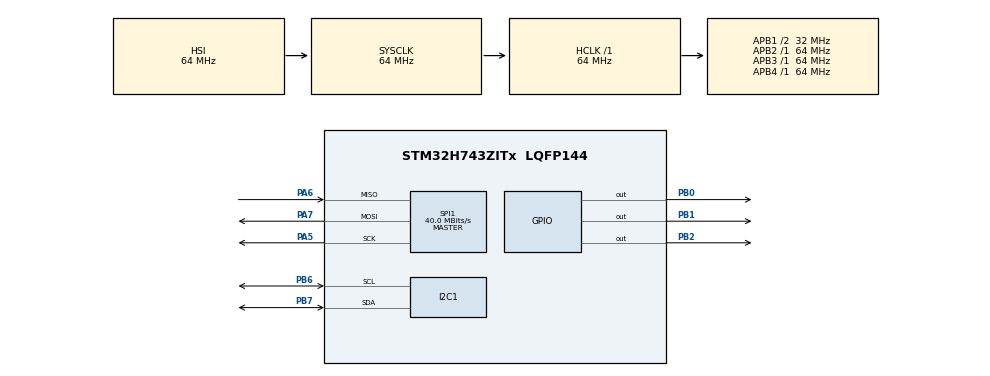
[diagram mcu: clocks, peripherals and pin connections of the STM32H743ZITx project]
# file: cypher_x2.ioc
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CORTEX_M7.default_mode_Activation=1
FREERTOS.Tasks01=TouchTask,0,512,StartTouchTask,Default,NULL,Dynamic,NULL,NULL;TFTTask,-3,512,StartTFTTask,Default,NULL,Dynamic,NULL,NULL
I2C1.Timing=0x00707CBB
Mcu.Family=STM32H7
Mcu.Name=STM32H743ZITx
Mcu.Package=LQFP144
NVIC.PriorityGroup=NVIC_PRIORITYGROUP_4
PA5.Mode=Full_Duplex_Master
PA5.Signal=SPI1_SCK
PA6.Mode=Full_Duplex_Master
PA6.Signal=SPI1_MISO
PA7.Mode=Full_Duplex_Master
PA7.Signal=SPI1_MOSI
PB0.Signal=GPIO_Output
PB1.Signal=GPIO_Output
PB2.Signal=GPIO_Output
PB6.Mode=I2C
PB6.Signal=I2C1_SCL
PB7.Mode=I2C
PB7.Signal=I2C1_SDA
ProjectManager.HeapSize=0x200
ProjectManager.StackSize=0x400
ProjectManager.TargetToolchain=STM32CubeIDE
RCC.ADCFreq_Value=129000000
RCC.APB1Freq_Value=32000000
RCC.APB2Freq_Value=64000000
RCC.APB3Freq_Value=64000000
RCC.APB4Freq_Value=64000000
RCC.CortexFreq_Value=64000000
RCC.D2PPRE1=RCC_APB1_DIV2
RCC.DIVM1=4
RCC.DIVN1=10
RCC.HCLKFreq_Value=64000000
RCC.PLLFRACN=0
RCC.SYSCLKFreq_VALUE=64000000
RCC.USBFreq_Value=80000000
SPI1.CalculateBaudRate=40.0 MBits/s
SPI1.Direction=SPI_DIRECTION_2LINES
SPI1.Mode=SPI_MODE_MASTER
SPI1.VirtualType=VM_MASTER
VP_FREERTOS_VS_CMSIS_V1.Mode=CMSIS_V1
VP_MEMORYMAP_VS_MEMORYMAP.Mode=CurAppReg
board=custom

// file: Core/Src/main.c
/* USER CODE BEGIN Header */
/**
  ******************************************************************************
  * @file           : main.c
  * @brief          : Main program body
  ******************************************************************************
  * @attention
  *
  * Copyright (c) 2024 STMicroelectronics.
  * All rights reserved.
  *
  * This software is licensed under terms that can be found in the LICENSE file
  * in the root directory of this software component.
  * If no LICENSE file comes with this software, it is provided AS-IS.
  *
  ******************************************************************************
  */
/* USER CODE END Header */
#include "main.h"
#include "cmsis_os.h"
#include "stmpe811.h"
#include "ili9341.h"

I2C_HandleTypeDef hi2c1;
stmpe811 stmpe811_struct;
ili9341 ili9341_struct;
SPI_HandleTypeDef hspi1;

uint8_t touch_flag = 0;

osThreadId TouchTaskHandle;
osThreadId TFTTaskHandle;

void SystemClock_Config(void);
static void MPU_Config(void);
static void MX_GPIO_Init(void);
static void MX_I2C1_Init(void);
static void MX_SPI1_Init(void);
void StartTouchTask(void const * argument);
void StartTFTTask(void const * argument);

int main(void)
{

  /* MPU Configuration--------------------------------------------------------*/
  MPU_Config();

  /* MCU Configuration--------------------------------------------------------*/

  /* Reset of all peripherals, Initializes the Flash interface and the Systick. */
  HAL_Init();

  /* Configure the system clock */
  SystemClock_Config();

  /* Initialize all configured peripherals */
  MX_GPIO_Init();
  MX_I2C1_Init();
  MX_SPI1_Init();

  /* Create the thread(s) */
  /* definition and creation of TouchTask */
  osThreadDef(TouchTask, StartTouchTask, osPriorityNormal, 0, 512);
  TouchTaskHandle = osThreadCreate(osThread(TouchTask), NULL);

  /* definition and creation of TFTTask */
  osThreadDef(TFTTask, StartTFTTask, osPriorityIdle, 0, 512);
  TFTTaskHandle = osThreadCreate(osThread(TFTTask), NULL);

  /* Start scheduler */
  osKernelStart();

  /* We should never get here as control is now taken by the scheduler */

  /* Infinite loop */
  while (1)
  {

  }
}

void SystemClock_Config(void)
{
  RCC_OscInitTypeDef RCC_OscInitStruct = {0};
  RCC_ClkInitTypeDef RCC_ClkInitStruct = {0};

  /** Supply configuration update enable
  */
  HAL_PWREx_ConfigSupply(PWR_LDO_SUPPLY);

  /** Configure the main internal regulator output voltage
  */
  __HAL_PWR_VOLTAGESCALING_CONFIG(PWR_REGULATOR_VOLTAGE_SCALE3);

  while(!__HAL_PWR_GET_FLAG(PWR_FLAG_VOSRDY)) {}

  /** Initializes the RCC Oscillators according to the specified parameters
  * in the RCC_OscInitTypeDef structure.
  */
  RCC_OscInitStruct.OscillatorType = RCC_OSCILLATORTYPE_HSI;
  RCC_OscInitStruct.HSIState = RCC_HSI_DIV1;
  RCC_OscInitStruct.HSICalibrationValue = RCC_HSICALIBRATION_DEFAULT;
  RCC_OscInitStruct.PLL.PLLState = RCC_PLL_ON;
  RCC_OscInitStruct.PLL.PLLSource = RCC_PLLSOURCE_HSI;
  RCC_OscInitStruct.PLL.PLLM = 4;
  RCC_OscInitStruct.PLL.PLLN = 10;
  RCC_OscInitStruct.PLL.PLLP = 2;
  RCC_OscInitStruct.PLL.PLLQ = 2;
  RCC_OscInitStruct.PLL.PLLR = 2;
  RCC_OscInitStruct.PLL.PLLRGE = RCC_PLL1VCIRANGE_3;
  RCC_OscInitStruct.PLL.PLLVCOSEL = RCC_PLL1VCOMEDIUM;
  RCC_OscInitStruct.PLL.PLLFRACN = 0;
  if (HAL_RCC_OscConfig(&RCC_OscInitStruct) != HAL_OK)
  {
    Error_Handler();
  }

  /** Initializes the CPU, AHB and APB buses clocks
  */
  RCC_ClkInitStruct.ClockType = RCC_CLOCKTYPE_HCLK|RCC_CLOCKTYPE_SYSCLK
                              |RCC_CLOCKTYPE_PCLK1|RCC_CLOCKTYPE_PCLK2
                              |RCC_CLOCKTYPE_D3PCLK1|RCC_CLOCKTYPE_D1PCLK1;
  RCC_ClkInitStruct.SYSCLKSource = RCC_SYSCLKSOURCE_HSI;
  RCC_ClkInitStruct.SYSCLKDivider = RCC_SYSCLK_DIV1;
  RCC_ClkInitStruct.AHBCLKDivider = RCC_HCLK_DIV1;
  RCC_ClkInitStruct.APB3CLKDivider = RCC_APB3_DIV1;
  RCC_ClkInitStruct.APB1CLKDivider = RCC_APB1_DIV2;
  RCC_ClkInitStruct.APB2CLKDivider = RCC_APB2_DIV1;
  RCC_ClkInitStruct.APB4CLKDivider = RCC_APB4_DIV1;

  if (HAL_RCC_ClockConfig(&RCC_ClkInitStruct, FLASH_LATENCY_1) != HAL_OK)
  {
    Error_Handler();
  }
}

static void MX_I2C1_Init(void)
{

  hi2c1.Instance = I2C1;
  hi2c1.Init.Timing = 0x00707CBB;
  hi2c1.Init.OwnAddress1 = 0;
  hi2c1.Init.AddressingMode = I2C_ADDRESSINGMODE_7BIT;
  hi2c1.Init.DualAddressMode = I2C_DUALADDRESS_DISABLE;
  hi2c1.Init.OwnAddress2 = 0;
  hi2c1.Init.OwnAddress2Masks = I2C_OA2_NOMASK;
  hi2c1.Init.GeneralCallMode = I2C_GENERALCALL_DISABLE;
  hi2c1.Init.NoStretchMode = I2C_NOSTRETCH_DISABLE;
  if (HAL_I2C_Init(&hi2c1) != HAL_OK)
  {
    Error_Handler();
  }

  /** Configure Analogue filter
  */
  if (HAL_I2CEx_ConfigAnalogFilter(&hi2c1, I2C_ANALOGFILTER_ENABLE) != HAL_OK)
  {
    Error_Handler();
  }

  /** Configure Digital filter
  */
  if (HAL_I2CEx_ConfigDigitalFilter(&hi2c1, 0) != HAL_OK)
  {
    Error_Handler();
  }

}

static void MX_SPI1_Init(void)
{

  /* SPI1 parameter configuration*/
  hspi1.Instance = SPI1;
  hspi1.Init.Mode = SPI_MODE_MASTER;
  hspi1.Init.Direction = SPI_DIRECTION_2LINES;
  hspi1.Init.DataSize = SPI_DATASIZE_4BIT;
  hspi1.Init.CLKPolarity = SPI_POLARITY_LOW;
  hspi1.Init.CLKPhase = SPI_PHASE_1EDGE;
  hspi1.Init.NSS = SPI_NSS_SOFT;
  hspi1.Init.BaudRatePrescaler = SPI_BAUDRATEPRESCALER_2;
  hspi1.Init.FirstBit = SPI_FIRSTBIT_MSB;
  hspi1.Init.TIMode = SPI_TIMODE_DISABLE;
  hspi1.Init.CRCCalculation = SPI_CRCCALCULATION_DISABLE;
  hspi1.Init.CRCPolynomial = 0x0;
  hspi1.Init.NSSPMode = SPI_NSS_PULSE_ENABLE;
  hspi1.Init.NSSPolarity = SPI_NSS_POLARITY_LOW;
  hspi1.Init.FifoThreshold = SPI_FIFO_THRESHOLD_01DATA;
  hspi1.Init.TxCRCInitializationPattern = SPI_CRC_INITIALIZATION_ALL_ZERO_PATTERN;
  hspi1.Init.RxCRCInitializationPattern = SPI_CRC_INITIALIZATION_ALL_ZERO_PATTERN;
  hspi1.Init.MasterSSIdleness = SPI_MASTER_SS_IDLENESS_00CYCLE;
  hspi1.Init.MasterInterDataIdleness = SPI_MASTER_INTERDATA_IDLENESS_00CYCLE;
  hspi1.Init.MasterReceiverAutoSusp = SPI_MASTER_RX_AUTOSUSP_DISABLE;
  hspi1.Init.MasterKeepIOState = SPI_MASTER_KEEP_IO_STATE_DISABLE;
  hspi1.Init.IOSwap = SPI_IO_SWAP_DISABLE;
  if (HAL_SPI_Init(&hspi1) != HAL_OK)
  {
    Error_Handler();
  }

}

static void MX_GPIO_Init(void)
{
  GPIO_InitTypeDef GPIO_InitStruct = {0};

  /* GPIO Ports Clock Enable */
  __HAL_RCC_GPIOA_CLK_ENABLE();
  __HAL_RCC_GPIOB_CLK_ENABLE();

  /*Configure GPIO pin Output Level */
  HAL_GPIO_WritePin(GPIOB, GPIO_PIN_0|GPIO_PIN_1|GPIO_PIN_2, GPIO_PIN_RESET);

  /*Configure GPIO pins : PB0 PB1 PB2 */
  GPIO_InitStruct.Pin = GPIO_PIN_0|GPIO_PIN_1|GPIO_PIN_2;
  GPIO_InitStruct.Mode = GPIO_MODE_OUTPUT_PP;
  GPIO_InitStruct.Pull = GPIO_NOPULL;
  GPIO_InitStruct.Speed = GPIO_SPEED_FREQ_LOW;
  HAL_GPIO_Init(GPIOB, &GPIO_InitStruct);

}

void StartTouchTask(void const * argument)
{
  /* USER CODE BEGIN 5 */
	HAL_StatusTypeDef Hal_status = HAL_OK;

	Hal_status = DAL_I2C_stmpe811_init(&hi2c1);
	if(Hal_status == HAL_ERROR)
	{
		osThreadSuspend(TouchTaskHandle);
	}
	/* Infinite loop */
	for(;;)
	{
		DAL_I2C_stmpe811_read(&hi2c1, &stmpe811_struct);
		osDelay(1);//to create difference between
		if((stmpe811_struct.x != 0) && (stmpe811_struct.y != 0))
		{
			touch_flag = 1;
		}
		else
		{
			touch_flag = 0;
		}
	}
  /* USER CODE END 5 */
}

void StartTFTTask(void const * argument)
{
  /* USER CODE BEGIN StartTFTTask */
	HAL_StatusTypeDef Hal_status = HAL_OK;
	uint8_t touch_flag_prev = 0;
	uint8_t single_print = 0;

	Hal_status = DAL_SPI_ILI9341_init(&hspi1);
	if(Hal_status == HAL_ERROR)
	{
		osThreadSuspend(TFTTaskHandle);
	}
  /* Infinite loop */
  for(;;)
  {
	  DAL_SPI_ILI9341_FillScreen(&hspi1, ILI9341_BLACK);
	  if((touch_flag == touch_flag_prev) && (single_print == 0))
	  {
		  DAL_SPI_ILI9341_WriteString(&hspi1, 0, 0,"STMPE811 Not Pressed", Font_7x10, ILI9341_RED,ILI9341_BLACK);
		  single_print = 1;
	  }
	  else if((touch_flag != touch_flag_prev) && (single_print == 1))
	  {
		  DAL_SPI_ILI9341_WriteString(&hspi1, 0, 0,"STMPE811 Pressed", Font_7x10, ILI9341_RED,ILI9341_BLACK);
		  touch_flag_prev = touch_flag;
		  single_print = 0;
		  osDelay(1);
	  }
  }
  /* USER CODE END StartTFTTask */
}

 /* MPU Configuration */

void MPU_Config(void)
{
  MPU_Region_InitTypeDef MPU_InitStruct = {0};

  /* Disables the MPU */
  HAL_MPU_Disable();

  /** Initializes and configures the Region and the memory to be protected
  */
  MPU_InitStruct.Enable = MPU_REGION_ENABLE;
  MPU_InitStruct.Number = MPU_REGION_NUMBER0;
  MPU_InitStruct.BaseAddress = 0x0;
  MPU_InitStruct.Size = MPU_REGION_SIZE_4GB;
  MPU_InitStruct.SubRegionDisable = 0x87;
  MPU_InitStruct.TypeExtField = MPU_TEX_LEVEL0;
  MPU_InitStruct.AccessPermission = MPU_REGION_NO_ACCESS;
  MPU_InitStruct.DisableExec = MPU_INSTRUCTION_ACCESS_DISABLE;
  MPU_InitStruct.IsShareable = MPU_ACCESS_SHAREABLE;
  MPU_InitStruct.IsCacheable = MPU_ACCESS_NOT_CACHEABLE;
  MPU_InitStruct.IsBufferable = MPU_ACCESS_NOT_BUFFERABLE;

  HAL_MPU_ConfigRegion(&MPU_InitStruct);

  /** Memory region for the touch data buffer (allow read/write access) **/
  MPU_InitStruct.Enable = MPU_REGION_ENABLE;
  MPU_InitStruct.Number = MPU_REGION_NUMBER1;
  MPU_InitStruct.BaseAddress = (uint32_t)&stmpe811_struct;  // Base address of touch buffer
  MPU_InitStruct.Size = MPU_REGION_SIZE_32B;  // Size of touch buffer (adjust as needed)
  MPU_InitStruct.AccessPermission = MPU_REGION_FULL_ACCESS;  // Allow full access
  MPU_InitStruct.DisableExec = MPU_INSTRUCTION_ACCESS_DISABLE;
  MPU_InitStruct.IsShareable = MPU_ACCESS_SHAREABLE;
  MPU_InitStruct.IsCacheable = MPU_ACCESS_CACHEABLE;
  MPU_InitStruct.IsBufferable = MPU_ACCESS_BUFFERABLE;
  HAL_MPU_ConfigRegion(&MPU_InitStruct);

  /** Memory region for the tft data buffer (allow read/write access) **/
  MPU_InitStruct.Enable = MPU_REGION_ENABLE;
  MPU_InitStruct.Number = MPU_REGION_NUMBER2;
  MPU_InitStruct.BaseAddress = (uint32_t)&ili9341_struct;  // Base address of tft buffer
  MPU_InitStruct.Size = MPU_REGION_SIZE_32B;  // Size of tft buffer (adjust as needed)
  MPU_InitStruct.AccessPermission = MPU_REGION_FULL_ACCESS;  // Allow full access
  MPU_InitStruct.DisableExec = MPU_INSTRUCTION_ACCESS_DISABLE;
  MPU_InitStruct.IsShareable = MPU_ACCESS_SHAREABLE;
  MPU_InitStruct.IsCacheable = MPU_ACCESS_CACHEABLE;
  MPU_InitStruct.IsBufferable = MPU_ACCESS_BUFFERABLE;
  HAL_MPU_ConfigRegion(&MPU_InitStruct);

  /* Enables the MPU */
  HAL_MPU_Enable(MPU_PRIVILEGED_DEFAULT);

}

void Error_Handler(void)
{
  __disable_irq();
  while (1)
  {
  }
}
